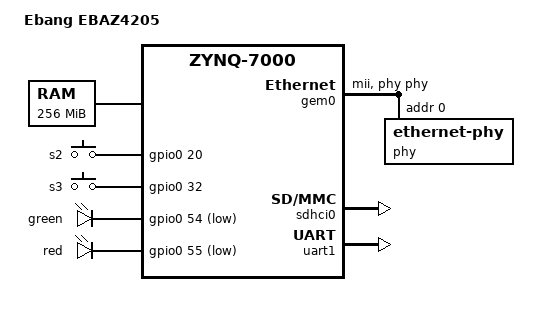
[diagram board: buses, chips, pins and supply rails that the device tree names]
// SPDX-License-Identifier: GPL-2.0+
/*
*  Copyright (C) 2011 - 2015 Xilinx
*  Copyright (C) 2012 National Instruments Corp.
*  2018.3
*/  
/dts-v1/;
#include "zynq-7000.dtsi"
#define  GPIO_ACTIVE_HIGH 0
#define  GPIO_ACTIVE_LOW  1
/ {
   model = "Ebang EBAZ4205";
   compatible = "ebang,ebaz4205", "xlnx,zynq-7000";

   aliases {
      ethernet0 = &gem0;
      serial0 = &uart1;
      mmc0 = &sdhci0;
   };

   memory@0 {
      device_type = "memory";
      reg = <0x0 0x10000000>;
   };

   chosen {
      bootargs = "";
      stdout-path = "serial0:115200n8";
   };

   ebaz-keys {
      compatible = "gpio-keys";
      autorepeat;
      s2 {
            label = "s2";
            gpios = <&gpio0 20 GPIO_ACTIVE_HIGH>;
            /*KEY_POWER*/
            linux,code = <116>;
            wakeup-source;
            autorepeat;
      };

      s3 {
            label = "s3";
            gpios = <&gpio0 32 GPIO_ACTIVE_HIGH>;
            /*KEY_HOME*/
            linux,code = <102>;
            wakeup-source;
            autorepeat;
      };
   };
   ebaz-leds {
      compatible = "gpio-leds";

      led-green {
         label = "green";
         gpios = <&gpio0 54 GPIO_ACTIVE_LOW>;
         default-state = "on";
      };
      led-red {
         label = "red";
         gpios = <&gpio0 55 GPIO_ACTIVE_LOW>;
         default-state = "on";
      };
   };

};

&clkc {
   ps-clk-frequency = <33333333>;
};

&gem0 {
   status = "okay";
   phy-mode = "mii";
   phy-handle = <&phy>;

   /* PHY clock */
   assigned-clocks = <&clkc 18>;
   assigned-clock-rates = <25000000>;

   phy: ethernet-phy@0 {
      reg = <0>;
   };
};

&sdhci0 {
   status = "okay";
};

&uart1 {
   status = "okay";
};
